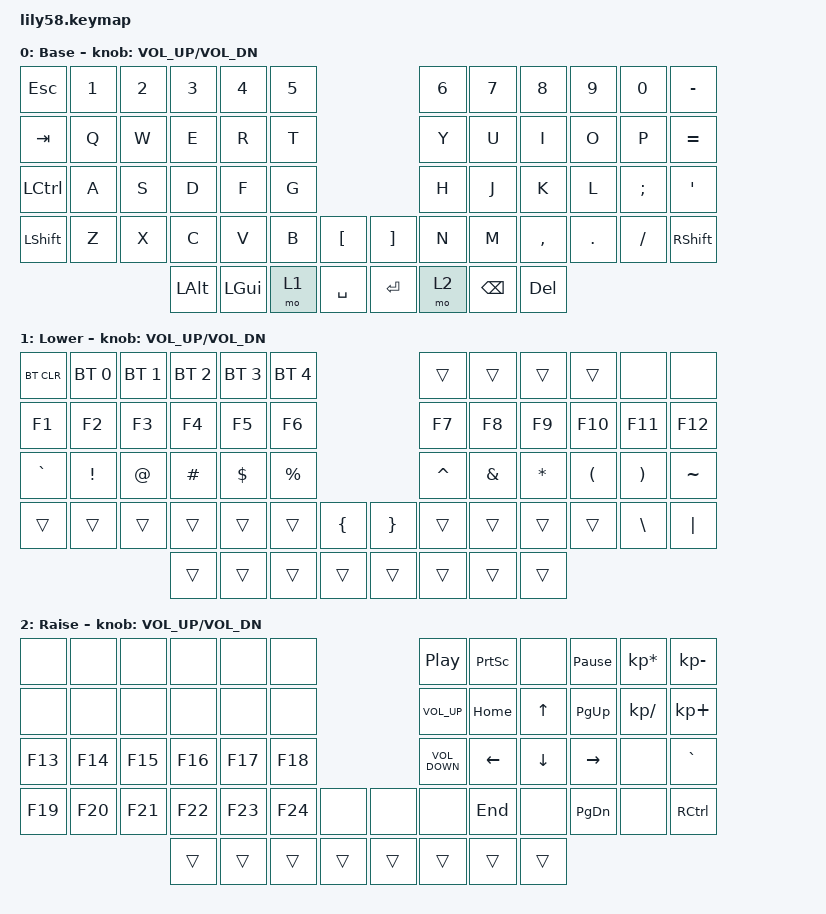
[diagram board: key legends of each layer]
/*
 * Copyright (c) 2020 The ZMK Contributors
 *
 * SPDX-License-Identifier: MIT
 */

#include <behaviors.dtsi>
#include <dt-bindings/zmk/bt.h>
#include <dt-bindings/zmk/keys.h>

/ {
    keymap {
        compatible = "zmk,keymap";

        default_layer {
            // ------------------------------------------------------------------------------------------------------------
            // |  ESC  |  1  |  2  |  3   |  4   |  5   |                   |  6   |  7    |  8    |  9   |   0   |   `   |
            // |  TAB  |  Q  |  W  |  E   |  R   |  T   |                   |  Y   |  U    |  I    |  O   |   P   |   -   |
            // |  CTRL |  A  |  S  |  D   |  F   |  G   |                   |  H   |  J    |  K    |  L   |   ;   |   '   |
            // | SHIFT |  Z  |  X  |  C   |  V   |  B   |   "["  |  |  "]"  |  N   |  M    |  ,    |  .   |   /   | SHIFT |
            //                     | ALT  | GUI  | LOWER|  SPACE |  | ENTER | RAISE| BSPC  | GUI   |

            display-name = "Base";
            bindings = <
&kp ESC    &kp N1  &kp N2  &kp N3    &kp N4    &kp N5                         &kp N6  &kp N7    &kp N8      &kp N9   &kp N0    &kp MINUS
&kp TAB    &kp Q   &kp W   &kp E     &kp R     &kp T                          &kp Y   &kp U     &kp I       &kp O    &kp P     &kp EQUAL
&kp LCTRL  &kp A   &kp S   &kp D     &kp F     &kp G                          &kp H   &kp J     &kp K       &kp L    &kp SEMI  &kp SQT
&kp LSHFT  &kp Z   &kp X   &kp C     &kp V     &kp B   &kp LBKT     &kp RBKT  &kp N   &kp M     &kp COMMA   &kp DOT  &kp FSLH  &kp RSHFT
                           &kp LALT  &kp LGUI  &mo 1   &kp SPACE    &kp RET   &mo 2   &kp BSPC  &kp DELETE
            >;

            sensor-bindings = <&inc_dec_kp C_VOL_UP C_VOL_DN>;
        };

        lower_layer {
            // ------------------------------------------------------------------------------------------------------------
            // | BTCLR | BT1 | BT2 |  BT3 |  BT4 |  BT5 |                   |      |       |       |      |       |       |
            // |  F1   |  F2 |  F3 |  F4  |  F5  |  F6  |                   |  F7  |  F8   |  F9   |  F10 |  F11  |  F12  |
            // |   `   |  !  |  @  |  #   |  $   |  %   |                   |  ^   |  &    |  *    |  (   |   )   |   ~   |
            // |       |     |     |      |      |      |        |  |       |      |  _    |  +    |  {   |   }   |  "|"  |
            //                     |      |      |      |        |  |       |      |       |       |

            display-name = "Lower";
            bindings = <
&bt BT_CLR  &bt BT_SEL 0  &bt BT_SEL 1  &bt BT_SEL 2  &bt BT_SEL 3  &bt BT_SEL 4                                     &trans     &trans    &trans        &trans    &none          &none
&kp F1      &kp F2        &kp F3        &kp F4        &kp F5        &kp F6                                           &kp F7     &kp F8    &kp F9        &kp F10   &kp F11        &kp F12
&kp GRAVE   &kp EXCL      &kp AT        &kp HASH      &kp DOLLAR    &kp PRCNT                                        &kp CARET  &kp AMPS  &kp ASTERISK  &kp LPAR  &kp RPAR       &kp TILDE
&trans      &trans        &trans        &trans        &trans        &trans        &kp LEFT_BRACE    &kp RIGHT_BRACE  &trans     &trans    &trans        &trans    &kp BACKSLASH  &kp PIPE
                                        &trans        &trans        &trans        &trans            &trans           &trans     &trans    &trans
            >;

            sensor-bindings = <&inc_dec_kp C_VOL_UP C_VOL_DN>;
        };

        raise_layer {
            // ------------------------------------------------------------------------------------------------------------
            // |       |     |     |      |      |      |                   |      |       |       |      |       |       |
            // |   `   |  1  |  2  |  3   |  4   |  5   |                   |  6   |   7   |   8   |  9   |   0   |       |
            // |   F1  |  F2 |  F3 |  F4  |  F5  |  F6  |                   |      |   <-  |   v   |  ^   |  ->   |       |
            // |   F7  |  F8 |  F9 |  F10 |  F11 |  F12 |        |  |       |  +   |   -   |   =   |  [   |   ]   |   \   |
            //                     |      |      |      |        |  |       |      |       |       |

            display-name = "Raise";
            bindings = <
&none    &none    &none    &none    &none    &none                      &kp C_PLAY_PAUSE   &kp PRINTSCREEN  &none         &kp PAUSE_BREAK  &kp KP_ASTERISK  &kp KP_MINUS
&none    &none    &none    &none    &none    &none                      &kp C_VOLUME_UP    &kp HOME         &kp UP_ARROW  &kp PG_UP        &kp KP_SLASH     &kp KP_PLUS
&kp F13  &kp F14  &kp F15  &kp F16  &kp F17  &kp F18                    &kp C_VOLUME_DOWN  &kp LEFT         &kp DOWN      &kp RIGHT_ARROW  &none            &kp GRAVE
&kp F19  &kp F20  &kp F21  &kp F22  &kp F23  &kp F24  &none     &none   &none              &kp END          &none         &kp PAGE_DOWN    &none            &kp RIGHT_CONTROL
                           &trans   &trans   &trans   &trans    &trans  &trans             &trans           &trans
            >;

            sensor-bindings = <&inc_dec_kp C_VOL_UP C_VOL_DN>;
        };

        extra_1 { status = "reserved"; };

        extra_2 { status = "reserved"; };

        extra_3 { status = "reserved"; };
    };
};
